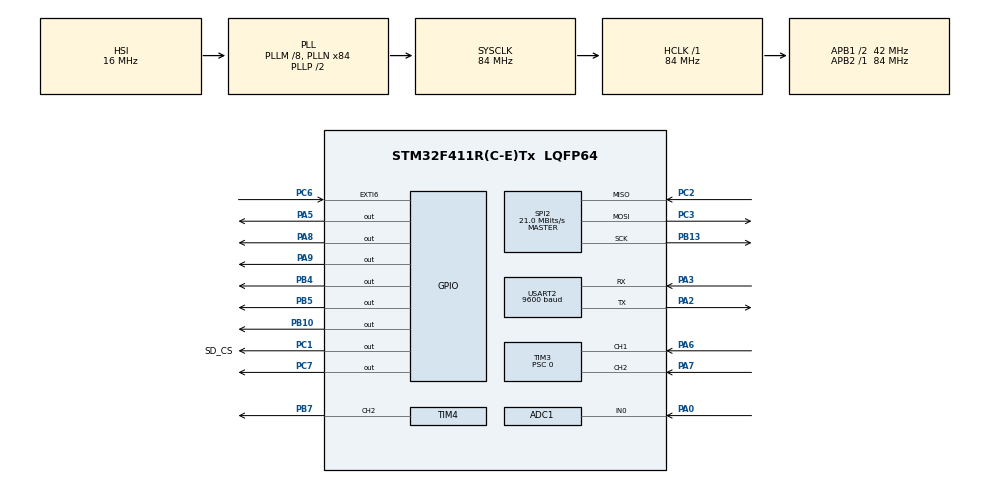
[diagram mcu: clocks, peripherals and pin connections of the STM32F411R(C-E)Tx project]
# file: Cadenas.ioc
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ADC1.Channel-1\#ChannelRegularConversion=ADC_CHANNEL_0
ADC1.ContinuousConvMode=DISABLE
ADC1.DMAContinuousRequests=ENABLE
ADC1.EOCSelection=ADC_EOC_SEQ_CONV
ADC1.ExternalTrigConv=ADC_EXTERNALTRIGCONV_T2_TRGO
ADC1.NbrOfConversion=1
ADC1.NbrOfConversionFlag=1
ADC1.Rank-1\#ChannelRegularConversion=1
ADC1.Resolution=ADC_RESOLUTION_10B
ADC1.SamplingTime-1\#ChannelRegularConversion=ADC_SAMPLETIME_28CYCLES
ADC1.ScanConvMode=ENABLE
ADC1.master=1
Dma.ADC1.0.Direction=DMA_PERIPH_TO_MEMORY
Dma.ADC1.0.FIFOMode=DMA_FIFOMODE_DISABLE
Dma.ADC1.0.Instance=DMA2_Stream0
Dma.ADC1.0.MemDataAlignment=DMA_MDATAALIGN_HALFWORD
Dma.ADC1.0.MemInc=DMA_MINC_ENABLE
Dma.ADC1.0.Mode=DMA_CIRCULAR
Dma.ADC1.0.PeriphDataAlignment=DMA_PDATAALIGN_HALFWORD
Dma.ADC1.0.PeriphInc=DMA_PINC_DISABLE
Dma.ADC1.0.Priority=DMA_PRIORITY_LOW
Dma.Request0=ADC1
Dma.Request1=USART2_RX
Dma.USART2_RX.1.Direction=DMA_PERIPH_TO_MEMORY
Dma.USART2_RX.1.FIFOMode=DMA_FIFOMODE_DISABLE
Dma.USART2_RX.1.Instance=DMA1_Stream5
Dma.USART2_RX.1.MemDataAlignment=DMA_MDATAALIGN_BYTE
Dma.USART2_RX.1.MemInc=DMA_MINC_ENABLE
Dma.USART2_RX.1.Mode=DMA_NORMAL
Dma.USART2_RX.1.PeriphDataAlignment=DMA_PDATAALIGN_BYTE
Dma.USART2_RX.1.PeriphInc=DMA_PINC_DISABLE
Dma.USART2_RX.1.Priority=DMA_PRIORITY_LOW
FATFS._MAX_LFN=15
FATFS._USE_LFN=1
Mcu.Family=STM32F4
Mcu.Name=STM32F411R(C-E)Tx
Mcu.Package=LQFP64
NVIC.DMA1_Stream5_IRQn=true\:0\:0\:false\:false\:true\:false\:true
NVIC.DMA2_Stream0_IRQn=true\:0\:0\:false\:false\:true\:false\:true
NVIC.EXTI9_5_IRQn=true\:0\:0\:false\:false\:true\:true\:true
NVIC.PriorityGroup=NVIC_PRIORITYGROUP_4
NVIC.USART2_IRQn=true\:0\:0\:false\:false\:true\:true\:true
PA0-WKUP.Signal=ADCx_IN0
PA13.Mode=Serial_Wire
PA13.Signal=SYS_JTMS-SWDIO
PA14.Mode=Serial_Wire
PA14.Signal=SYS_JTCK-SWCLK
PA2.Mode=Asynchronous
PA2.Signal=USART2_TX
PA3.Mode=Asynchronous
PA3.Signal=USART2_RX
PA5.Signal=GPIO_Output
PA6.Signal=S_TIM3_CH1
PA7.Signal=S_TIM3_CH2
PA8.Signal=GPIO_Output
PA9.Signal=GPIO_Output
PB10.Signal=GPIO_Output
PB13.Mode=Full_Duplex_Master
PB13.Signal=SPI2_SCK
PB4.Signal=GPIO_Output
PB5.Signal=GPIO_Output
PB7.Signal=S_TIM4_CH2
PC1.GPIO_Label=SD_CS
PC1.Signal=GPIO_Output
PC14-OSC32_IN.Mode=LSE-External-Oscillator
PC14-OSC32_IN.Signal=RCC_OSC32_IN
PC15-OSC32_OUT.Mode=LSE-External-Oscillator
PC15-OSC32_OUT.Signal=RCC_OSC32_OUT
PC2.Mode=Full_Duplex_Master
PC2.Signal=SPI2_MISO
PC3.Mode=Full_Duplex_Master
PC3.Signal=SPI2_MOSI
PC6.Signal=GPXTI6
PC7.Signal=GPIO_Output
PH0\ -\ OSC_IN.Mode=HSE-External-Oscillator
PH0\ -\ OSC_IN.Signal=RCC_OSC_IN
PH1\ -\ OSC_OUT.Mode=HSE-External-Oscillator
PH1\ -\ OSC_OUT.Signal=RCC_OSC_OUT
ProjectManager.HeapSize=0x200
ProjectManager.StackSize=0x400
ProjectManager.TargetToolchain=STM32CubeIDE
RCC.48MHZClocksFreq_Value=42000000
RCC.AHBFreq_Value=84000000
RCC.APB1CLKDivider=RCC_HCLK_DIV2
RCC.APB1Freq_Value=42000000
RCC.APB1TimFreq_Value=84000000
RCC.APB2Freq_Value=84000000
RCC.APB2TimFreq_Value=84000000
RCC.CortexFreq_Value=84000000
RCC.HCLKFreq_Value=84000000
RCC.HSE_VALUE=25000000
RCC.HSI_VALUE=16000000
RCC.PLLM=8
RCC.PLLN=84
RCC.SYSCLKFreq_VALUE=84000000
RCC.SYSCLKSource=RCC_SYSCLKSOURCE_PLLCLK
RCC.VCOOutputFreq_Value=168000000
RTC.Alarm=RTC_ALARM_A
SH.ADCx_IN0.0=ADC1_IN0,IN0
SH.S_TIM3_CH1.0=TIM3_CH1,Encoder_Interface
SH.S_TIM3_CH2.0=TIM3_CH2,Encoder_Interface
SH.S_TIM4_CH2.0=TIM4_CH2,PWM Generation2 CH2
SPI2.CalculateBaudRate=21.0 MBits/s
SPI2.Direction=SPI_DIRECTION_2LINES
SPI2.Mode=SPI_MODE_MASTER
SPI2.VirtualType=VM_MASTER
TIM2.Period=1000-1
TIM2.Prescaler=8400-1
TIM2.TIM_MasterOutputTrigger=TIM_TRGO_UPDATE
TIM2.TIM_MasterSlaveMode=TIM_MASTERSLAVEMODE_ENABLE
TIM3.AutoReloadPreload=TIM_AUTORELOAD_PRELOAD_ENABLE
TIM3.EncoderMode=TIM_ENCODERMODE_TI12
TIM3.IC1Filter=10
TIM3.Period=65000
TIM3.Prescaler=0
TIM4.Channel-PWM\ Generation2\ CH2=TIM_CHANNEL_2
TIM4.Period=1000
TIM4.Prescaler=1680
USART2.BaudRate=9600
USART2.VirtualMode=VM_ASYNC
VP_FATFS_VS_Generic.Mode=User_defined
VP_RTC_VS_RTC_Activate.Mode=RTC_Enabled
VP_RTC_VS_RTC_Alarm_A_Intern.Mode=Alarm A
VP_RTC_VS_RTC_Calendar.Mode=RTC_Calendar
VP_TIM2_VS_ClockSourceINT.Mode=Internal
board=custom

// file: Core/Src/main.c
/* USER CODE BEGIN Header */
/**
  ******************************************************************************
  * @file           : main.c
  * @brief          : Main program body
  ******************************************************************************
  * @attention
  *
  * <h2><center>&copy; Copyright (c) 2021 STMicroelectronics.
  * All rights reserved.</center></h2>
  *
  * This software component is licensed by ST under BSD 3-Clause license,
  * the "License"; You may not use this file except in compliance with the
  * License. You may obtain a copy of the License at:
  *                        opensource.org/licenses/BSD-3-Clause
  *
  ******************************************************************************
  */
/* USER CODE END Header */
#include "main.h"
#include "fatfs.h"

/* USER CODE BEGIN Includes */

#include "stm32f4_hd44780.h"
#include <cadenas.h>
/* USER CODE END Includes */

/* USER CODE BEGIN PTD */
#define RXBUFF_SIZE 8
/* USER CODE END PTD */

ADC_HandleTypeDef hadc1;
DMA_HandleTypeDef hdma_adc1;

RTC_HandleTypeDef hrtc;

SPI_HandleTypeDef hspi2;

TIM_HandleTypeDef htim2;
TIM_HandleTypeDef htim3;
TIM_HandleTypeDef htim4;

UART_HandleTypeDef huart2;
DMA_HandleTypeDef hdma_usart2_rx;

/* USER CODE BEGIN PV */
int debounce = 0;
/* USER CODE END PV */

void SystemClock_Config(void);
static void MX_GPIO_Init(void);
static void MX_ADC1_Init(void);
static void MX_DMA_Init(void);
static void MX_USART2_UART_Init(void);
static void MX_TIM2_Init(void);
static void MX_TIM3_Init(void);
static void MX_TIM4_Init(void);
static void MX_SPI2_Init(void);
static void MX_RTC_Init(void);

/* USER CODE BEGIN 0 */
char Rxbuff[RXBUFF_SIZE];
/* USER CODE END 0 */

int main(void)
{
  /* USER CODE BEGIN 1 */
	uint16_t adcVal; // bouton sélectionné`

  /* USER CODE END 1 */

  /* MCU Configuration--------------------------------------------------------*/

  /* Reset of all peripherals, Initializes the Flash interface and the Systick. */
  HAL_Init();

  /* Configure the system clock */
  SystemClock_Config();

  /* Initialize all configured peripherals */
  MX_GPIO_Init();
  MX_DMA_Init();
  MX_ADC1_Init();

  MX_USART2_UART_Init();
  MX_TIM2_Init();
  MX_TIM3_Init();
  MX_TIM4_Init();
  MX_SPI2_Init();
  MX_FATFS_Init();
  MX_RTC_Init();
  /* USER CODE BEGIN 2 */

  /* Démarre les périphériques */
  HAL_TIM_Encoder_Start(&htim3, TIM_CHANNEL_ALL);
  HAL_ADC_Start_DMA(&hadc1, &adcVal, 1);
  HAL_TIM_Base_Start_IT(&htim2);
  HAL_TIM_PWM_Start(&htim4, TIM_CHANNEL_2);
  HAL_UARTEx_ReceiveToIdle_DMA(&huart2, Rxbuff, RXBUFF_SIZE);

  /* Initialise l'affichage du LCD */
  initLCD();

  /* Initialise une date et une heure dans la rtc */
  if(HAL_RTCEx_BKUPRead(&hrtc, RTC_BKP_DR1) != 0x32F2)
  {
   	set_time();
  }

  /* USER CODE END 2 */

  /* Infinite loop */
  /* USER CODE BEGIN WHILE */

  while (1)
  {
	  buttonManager(adcVal,debounce);
	  miseAJourLcd();
	  HAL_Delay(500);
    /* USER CODE END WHILE */

  }
}

void SystemClock_Config(void)
{
  RCC_OscInitTypeDef RCC_OscInitStruct = {0};
  RCC_ClkInitTypeDef RCC_ClkInitStruct = {0};

  /** Configure the main internal regulator output voltage
  */
  __HAL_RCC_PWR_CLK_ENABLE();
  __HAL_PWR_VOLTAGESCALING_CONFIG(PWR_REGULATOR_VOLTAGE_SCALE1);
  /** Initializes the RCC Oscillators according to the specified parameters
  * in the RCC_OscInitTypeDef structure.
  */
  RCC_OscInitStruct.OscillatorType = RCC_OSCILLATORTYPE_HSI|RCC_OSCILLATORTYPE_LSI;
  RCC_OscInitStruct.HSIState = RCC_HSI_ON;
  RCC_OscInitStruct.HSICalibrationValue = RCC_HSICALIBRATION_DEFAULT;
  RCC_OscInitStruct.LSIState = RCC_LSI_ON;
  RCC_OscInitStruct.PLL.PLLState = RCC_PLL_ON;
  RCC_OscInitStruct.PLL.PLLSource = RCC_PLLSOURCE_HSI;
  RCC_OscInitStruct.PLL.PLLM = 8;
  RCC_OscInitStruct.PLL.PLLN = 84;
  RCC_OscInitStruct.PLL.PLLP = RCC_PLLP_DIV2;
  RCC_OscInitStruct.PLL.PLLQ = 4;
  if (HAL_RCC_OscConfig(&RCC_OscInitStruct) != HAL_OK)
  {
    Error_Handler();
  }
  /** Initializes the CPU, AHB and APB buses clocks
  */
  RCC_ClkInitStruct.ClockType = RCC_CLOCKTYPE_HCLK|RCC_CLOCKTYPE_SYSCLK
                              |RCC_CLOCKTYPE_PCLK1|RCC_CLOCKTYPE_PCLK2;
  RCC_ClkInitStruct.SYSCLKSource = RCC_SYSCLKSOURCE_PLLCLK;
  RCC_ClkInitStruct.AHBCLKDivider = RCC_SYSCLK_DIV1;
  RCC_ClkInitStruct.APB1CLKDivider = RCC_HCLK_DIV2;
  RCC_ClkInitStruct.APB2CLKDivider = RCC_HCLK_DIV1;

  if (HAL_RCC_ClockConfig(&RCC_ClkInitStruct, FLASH_LATENCY_2) != HAL_OK)
  {
    Error_Handler();
  }
}

static void MX_ADC1_Init(void)
{

  ADC_ChannelConfTypeDef sConfig = {0};

  /** Configure the global features of the ADC (Clock, Resolution, Data Alignment and number of conversion)
  */
  hadc1.Instance = ADC1;
  hadc1.Init.ClockPrescaler = ADC_CLOCK_SYNC_PCLK_DIV4;
  hadc1.Init.Resolution = ADC_RESOLUTION_10B;
  hadc1.Init.ScanConvMode = ENABLE;
  hadc1.Init.ContinuousConvMode = DISABLE;
  hadc1.Init.DiscontinuousConvMode = DISABLE;
  hadc1.Init.ExternalTrigConvEdge = ADC_EXTERNALTRIGCONVEDGE_RISING;
  hadc1.Init.ExternalTrigConv = ADC_EXTERNALTRIGCONV_T2_TRGO;
  hadc1.Init.DataAlign = ADC_DATAALIGN_RIGHT;
  hadc1.Init.NbrOfConversion = 1;
  hadc1.Init.DMAContinuousRequests = ENABLE;
  hadc1.Init.EOCSelection = ADC_EOC_SEQ_CONV;
  if (HAL_ADC_Init(&hadc1) != HAL_OK)
  {
    Error_Handler();
  }
  /** Configure for the selected ADC regular channel its corresponding rank in the sequencer and its sample time.
  */
  sConfig.Channel = ADC_CHANNEL_0;
  sConfig.Rank = 1;
  sConfig.SamplingTime = ADC_SAMPLETIME_28CYCLES;
  if (HAL_ADC_ConfigChannel(&hadc1, &sConfig) != HAL_OK)
  {
    Error_Handler();
  }

}

static void MX_RTC_Init(void)
{

  RTC_TimeTypeDef sTime = {0};
  RTC_DateTypeDef sDate = {0};
  RTC_AlarmTypeDef sAlarm = {0};

  /** Initialize RTC Only
  */
  hrtc.Instance = RTC;
  hrtc.Init.HourFormat = RTC_HOURFORMAT_24;
  hrtc.Init.AsynchPrediv = 127;
  hrtc.Init.SynchPrediv = 255;
  hrtc.Init.OutPut = RTC_OUTPUT_DISABLE;
  hrtc.Init.OutPutPolarity = RTC_OUTPUT_POLARITY_HIGH;
  hrtc.Init.OutPutType = RTC_OUTPUT_TYPE_OPENDRAIN;
  if (HAL_RTC_Init(&hrtc) != HAL_OK)
  {
    Error_Handler();
  }

  /** Initialize RTC and set the Time and Date
  */
  sTime.Hours = 0x0;
  sTime.Minutes = 0x0;
  sTime.Seconds = 0x0;
  sTime.DayLightSaving = RTC_DAYLIGHTSAVING_NONE;
  sTime.StoreOperation = RTC_STOREOPERATION_RESET;
  if (HAL_RTC_SetTime(&hrtc, &sTime, RTC_FORMAT_BCD) != HAL_OK)
  {
    Error_Handler();
  }
  sDate.WeekDay = RTC_WEEKDAY_MONDAY;
  sDate.Month = RTC_MONTH_JANUARY;
  sDate.Date = 0x1;
  sDate.Year = 0x0;

  if (HAL_RTC_SetDate(&hrtc, &sDate, RTC_FORMAT_BCD) != HAL_OK)
  {
    Error_Handler();
  }
  /** Enable the Alarm A
  */
  sAlarm.AlarmTime.Hours = 0x0;
  sAlarm.AlarmTime.Minutes = 0x0;
  sAlarm.AlarmTime.Seconds = 0x0;
  sAlarm.AlarmTime.SubSeconds = 0x0;
  sAlarm.AlarmTime.DayLightSaving = RTC_DAYLIGHTSAVING_NONE;
  sAlarm.AlarmTime.StoreOperation = RTC_STOREOPERATION_RESET;
  sAlarm.AlarmMask = RTC_ALARMMASK_NONE;
  sAlarm.AlarmSubSecondMask = RTC_ALARMSUBSECONDMASK_ALL;
  sAlarm.AlarmDateWeekDaySel = RTC_ALARMDATEWEEKDAYSEL_DATE;
  sAlarm.AlarmDateWeekDay = 0x1;
  sAlarm.Alarm = RTC_ALARM_A;
  if (HAL_RTC_SetAlarm(&hrtc, &sAlarm, RTC_FORMAT_BCD) != HAL_OK)
  {
    Error_Handler();
  }

}

static void MX_SPI2_Init(void)
{

  /* SPI2 parameter configuration*/
  hspi2.Instance = SPI2;
  hspi2.Init.Mode = SPI_MODE_MASTER;
  hspi2.Init.Direction = SPI_DIRECTION_2LINES;
  hspi2.Init.DataSize = SPI_DATASIZE_8BIT;
  hspi2.Init.CLKPolarity = SPI_POLARITY_LOW;
  hspi2.Init.CLKPhase = SPI_PHASE_1EDGE;
  hspi2.Init.NSS = SPI_NSS_SOFT;
  hspi2.Init.BaudRatePrescaler = SPI_BAUDRATEPRESCALER_2;
  hspi2.Init.FirstBit = SPI_FIRSTBIT_MSB;
  hspi2.Init.TIMode = SPI_TIMODE_DISABLE;
  hspi2.Init.CRCCalculation = SPI_CRCCALCULATION_DISABLE;
  hspi2.Init.CRCPolynomial = 10;
  if (HAL_SPI_Init(&hspi2) != HAL_OK)
  {
    Error_Handler();
  }

}

static void MX_TIM2_Init(void)
{

  TIM_ClockConfigTypeDef sClockSourceConfig = {0};
  TIM_MasterConfigTypeDef sMasterConfig = {0};

  htim2.Instance = TIM2;
  htim2.Init.Prescaler = 8400-1;
  htim2.Init.CounterMode = TIM_COUNTERMODE_UP;
  htim2.Init.Period = 1000-1;
  htim2.Init.ClockDivision = TIM_CLOCKDIVISION_DIV1;
  htim2.Init.AutoReloadPreload = TIM_AUTORELOAD_PRELOAD_DISABLE;
  if (HAL_TIM_Base_Init(&htim2) != HAL_OK)
  {
    Error_Handler();
  }
  sClockSourceConfig.ClockSource = TIM_CLOCKSOURCE_INTERNAL;
  if (HAL_TIM_ConfigClockSource(&htim2, &sClockSourceConfig) != HAL_OK)
  {
    Error_Handler();
  }
  sMasterConfig.MasterOutputTrigger = TIM_TRGO_UPDATE;
  sMasterConfig.MasterSlaveMode = TIM_MASTERSLAVEMODE_ENABLE;
  if (HAL_TIMEx_MasterConfigSynchronization(&htim2, &sMasterConfig) != HAL_OK)
  {
    Error_Handler();
  }

}

static void MX_TIM3_Init(void)
{

  TIM_Encoder_InitTypeDef sConfig = {0};
  TIM_MasterConfigTypeDef sMasterConfig = {0};

  htim3.Instance = TIM3;
  htim3.Init.Prescaler = 0;
  htim3.Init.CounterMode = TIM_COUNTERMODE_UP;
  htim3.Init.Period = 65000;
  htim3.Init.ClockDivision = TIM_CLOCKDIVISION_DIV1;
  htim3.Init.AutoReloadPreload = TIM_AUTORELOAD_PRELOAD_ENABLE;
  sConfig.EncoderMode = TIM_ENCODERMODE_TI12;
  sConfig.IC1Polarity = TIM_ICPOLARITY_RISING;
  sConfig.IC1Selection = TIM_ICSELECTION_DIRECTTI;
  sConfig.IC1Prescaler = TIM_ICPSC_DIV1;
  sConfig.IC1Filter = 10;
  sConfig.IC2Polarity = TIM_ICPOLARITY_RISING;
  sConfig.IC2Selection = TIM_ICSELECTION_DIRECTTI;
  sConfig.IC2Prescaler = TIM_ICPSC_DIV1;
  sConfig.IC2Filter = 0;
  if (HAL_TIM_Encoder_Init(&htim3, &sConfig) != HAL_OK)
  {
    Error_Handler();
  }
  sMasterConfig.MasterOutputTrigger = TIM_TRGO_RESET;
  sMasterConfig.MasterSlaveMode = TIM_MASTERSLAVEMODE_DISABLE;
  if (HAL_TIMEx_MasterConfigSynchronization(&htim3, &sMasterConfig) != HAL_OK)
  {
    Error_Handler();
  }

}

static void MX_TIM4_Init(void)
{

  TIM_MasterConfigTypeDef sMasterConfig = {0};
  TIM_OC_InitTypeDef sConfigOC = {0};

  htim4.Instance = TIM4;
  htim4.Init.Prescaler = 1680;
  htim4.Init.CounterMode = TIM_COUNTERMODE_UP;
  htim4.Init.Period = 1000;
  htim4.Init.ClockDivision = TIM_CLOCKDIVISION_DIV1;
  htim4.Init.AutoReloadPreload = TIM_AUTORELOAD_PRELOAD_DISABLE;
  if (HAL_TIM_PWM_Init(&htim4) != HAL_OK)
  {
    Error_Handler();
  }
  sMasterConfig.MasterOutputTrigger = TIM_TRGO_RESET;
  sMasterConfig.MasterSlaveMode = TIM_MASTERSLAVEMODE_DISABLE;
  if (HAL_TIMEx_MasterConfigSynchronization(&htim4, &sMasterConfig) != HAL_OK)
  {
    Error_Handler();
  }
  sConfigOC.OCMode = TIM_OCMODE_PWM1;
  sConfigOC.Pulse = 0;
  sConfigOC.OCPolarity = TIM_OCPOLARITY_HIGH;
  sConfigOC.OCFastMode = TIM_OCFAST_DISABLE;
  if (HAL_TIM_PWM_ConfigChannel(&htim4, &sConfigOC, TIM_CHANNEL_2) != HAL_OK)
  {
    Error_Handler();
  }
  HAL_TIM_MspPostInit(&htim4);

}

static void MX_USART2_UART_Init(void)
{

  huart2.Instance = USART2;
  huart2.Init.BaudRate = 9600;
  huart2.Init.WordLength = UART_WORDLENGTH_8B;
  huart2.Init.StopBits = UART_STOPBITS_1;
  huart2.Init.Parity = UART_PARITY_NONE;
  huart2.Init.Mode = UART_MODE_TX_RX;
  huart2.Init.HwFlowCtl = UART_HWCONTROL_NONE;
  huart2.Init.OverSampling = UART_OVERSAMPLING_16;
  if (HAL_UART_Init(&huart2) != HAL_OK)
  {
    Error_Handler();
  }

}

static void MX_DMA_Init(void)
{

  /* DMA controller clock enable */
  __HAL_RCC_DMA2_CLK_ENABLE();
  __HAL_RCC_DMA1_CLK_ENABLE();

  /* DMA interrupt init */
  /* DMA1_Stream5_IRQn interrupt configuration */
  HAL_NVIC_SetPriority(DMA1_Stream5_IRQn, 0, 0);
  HAL_NVIC_EnableIRQ(DMA1_Stream5_IRQn);
  /* DMA2_Stream0_IRQn interrupt configuration */
  HAL_NVIC_SetPriority(DMA2_Stream0_IRQn, 0, 0);
  HAL_NVIC_EnableIRQ(DMA2_Stream0_IRQn);

}

static void MX_GPIO_Init(void)
{
  GPIO_InitTypeDef GPIO_InitStruct = {0};

  /* GPIO Ports Clock Enable */
  __HAL_RCC_GPIOC_CLK_ENABLE();
  __HAL_RCC_GPIOH_CLK_ENABLE();
  __HAL_RCC_GPIOA_CLK_ENABLE();
  __HAL_RCC_GPIOB_CLK_ENABLE();

  /*Configure GPIO pin Output Level */
  HAL_GPIO_WritePin(GPIOC, SD_CS_Pin|GPIO_PIN_7, GPIO_PIN_RESET);

  /*Configure GPIO pin Output Level */
  HAL_GPIO_WritePin(GPIOA, GPIO_PIN_5|GPIO_PIN_8|GPIO_PIN_9, GPIO_PIN_RESET);

  /*Configure GPIO pin Output Level */
  HAL_GPIO_WritePin(GPIOB, GPIO_PIN_10|GPIO_PIN_4|GPIO_PIN_5, GPIO_PIN_RESET);

  /*Configure GPIO pins : SD_CS_Pin PC7 */
  GPIO_InitStruct.Pin = SD_CS_Pin|GPIO_PIN_7;
  GPIO_InitStruct.Mode = GPIO_MODE_OUTPUT_PP;
  GPIO_InitStruct.Pull = GPIO_NOPULL;
  GPIO_InitStruct.Speed = GPIO_SPEED_FREQ_LOW;
  HAL_GPIO_Init(GPIOC, &GPIO_InitStruct);

  /*Configure GPIO pins : PA5 PA8 PA9 */
  GPIO_InitStruct.Pin = GPIO_PIN_5|GPIO_PIN_8|GPIO_PIN_9;
  GPIO_InitStruct.Mode = GPIO_MODE_OUTPUT_PP;
  GPIO_InitStruct.Pull = GPIO_NOPULL;
  GPIO_InitStruct.Speed = GPIO_SPEED_FREQ_LOW;
  HAL_GPIO_Init(GPIOA, &GPIO_InitStruct);

  /*Configure GPIO pins : PB10 PB4 PB5 */
  GPIO_InitStruct.Pin = GPIO_PIN_10|GPIO_PIN_4|GPIO_PIN_5;
  GPIO_InitStruct.Mode = GPIO_MODE_OUTPUT_PP;
  GPIO_InitStruct.Pull = GPIO_NOPULL;
  GPIO_InitStruct.Speed = GPIO_SPEED_FREQ_LOW;
  HAL_GPIO_Init(GPIOB, &GPIO_InitStruct);

  /*Configure GPIO pin : PC6 */
  GPIO_InitStruct.Pin = GPIO_PIN_6;
  GPIO_InitStruct.Mode = GPIO_MODE_IT_RISING;
  GPIO_InitStruct.Pull = GPIO_NOPULL;
  HAL_GPIO_Init(GPIOC, &GPIO_InitStruct);

  /* EXTI interrupt init*/
  HAL_NVIC_SetPriority(EXTI9_5_IRQn, 0, 0);
  HAL_NVIC_EnableIRQ(EXTI9_5_IRQn);

}

/* USER CODE BEGIN 4 */

/* Interrupt */
void HAL_RTC_AlarmAEventCallback(RTC_HandleTypeDef *hrtc)
{
	//alarm = 1;
}

void HAL_ADC_ConvCpltCallback(ADC_HandleTypeDef *hadc)
{
	HAL_GPIO_TogglePin(GPIOA, GPIO_PIN_5);
}

void HAL_UARTEx_RxEventCallback(UART_HandleTypeDef *huart, uint16_t Size)
{
	// Relancement du périphérique
	if(huart->Instance == USART2)
	{
		HAL_UARTEx_ReceiveToIdle_DMA(&huart2, Rxbuff, RXBUFF_SIZE);
	}
	CallUart(Rxbuff);
}

void HAL_GPIO_EXTI_Callback (uint16_t GPIO_Pin)
{
	ManageButtonEncoder(debounce);
}

/* USER CODE END 4 */

void Error_Handler(void)
{
  __disable_irq();
  while (1)
  {
  }
}

/************************ (C) COPYRIGHT STMicroelectronics *****END OF FILE****/
